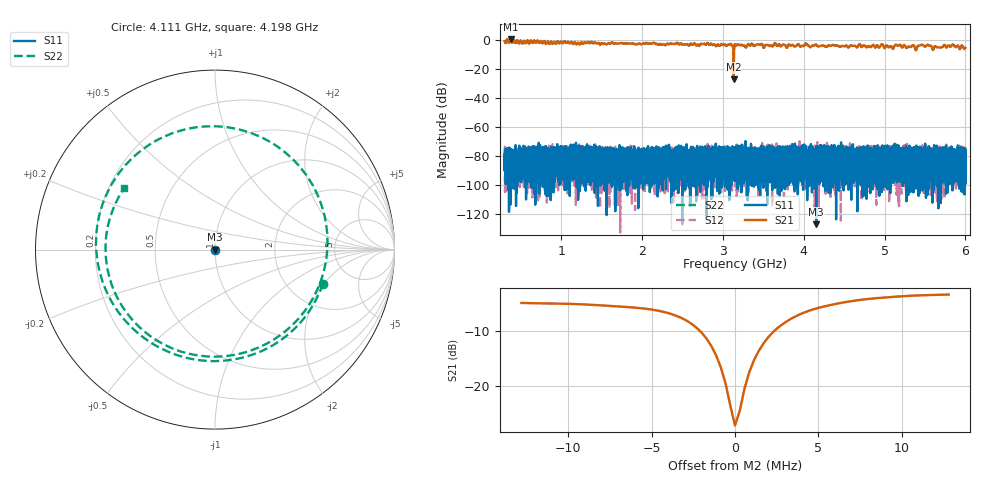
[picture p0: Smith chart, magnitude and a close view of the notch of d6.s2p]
!Agilent Technologies,N5230C,SG49000117,A.08.50.07
!Agilent N5230C: A.08.50.07
!Date: Monday, March 18, 2024 18:58:04
!Correction: S11(Off)
!S21(Off)
!S12(Off)
!S22(Off)
!S2P File: Measurements: S11, S21, S12, S22:
# Hz S  RI  R 50
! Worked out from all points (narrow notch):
!   20001 points, 300 MHz to 6 GHz, reference 50 ohm
!   highest |S21| = 0.46 dB at 374.1 MHz (marker M1); lowest = -27.3 dB at 3.134 GHz (marker M2)
!   notch at M2: 24.0 dB deep, 2.15 MHz wide at half that depth
!   lowest |S11| = -127.3 dB at 4.155 GHz (marker M3), VSWR 1.00, Z = 50 + j2.57e-05 ohm
!   |S11| at or under -10 dB: start of sweep to end of sweep
!   |S22| runs from -27.4 to 0.5 dB; largest |S21 - S12| = 1.1
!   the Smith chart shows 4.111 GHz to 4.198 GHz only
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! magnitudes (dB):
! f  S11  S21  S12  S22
! 300 MHz  -80.6  -0.9  -90.7  -0.9
! 374.1 MHz  -91.2  0.5  -86.0  0.5
! 1.25 GHz  -81.9  -1.7  -84.0  -1.7
! 2.2 GHz  -81.5  -3.5  -82.6  -3.5
! 3.084 GHz  -85.3  -3.4  -79.0  -3.4
! 3.134 GHz  -86.5  -27.3  -87.1  -27.4
! 3.15 GHz  -94.3  -3.1  -86.3  -3.1
! 3.172 GHz  -82.4  -3.8  -78.7  -3.8
! 3.271 GHz  -84.4  -4.3  -76.4  -4.2
! 3.456 GHz  -80.4  -3.5  -79.0  -3.5
! 3.977 GHz  -76.5  -4.1  -81.5  -4.0
! 4.035 GHz  -90.2  -2.9  -82.1  -2.8
! 4.1 GHz  -79.1  -4.3  -79.9  -4.2
! 4.155 GHz  -127.3  -3.5  -80.7  -3.4
! 5.05 GHz  -78.3  -5.2  -90.0  -5.2
! 5.163 GHz  -76.1  -4.1  -85.4  -4.1
! 5.396 GHz  -89.9  -6.3  -84.2  -6.3
! 5.457 GHz  -90.5  -3.3  -84.5  -3.4
! 5.613 GHz  -75.8  -5.2  -82.7  -5.2
! 5.846 GHz  -87.6  -3.4  -86.7  -3.4
! 5.966 GHz  -83.2  -4.5  -82.6  -4.5
! 6 GHz  -76.3  -5.5  -82.4  -5.6
